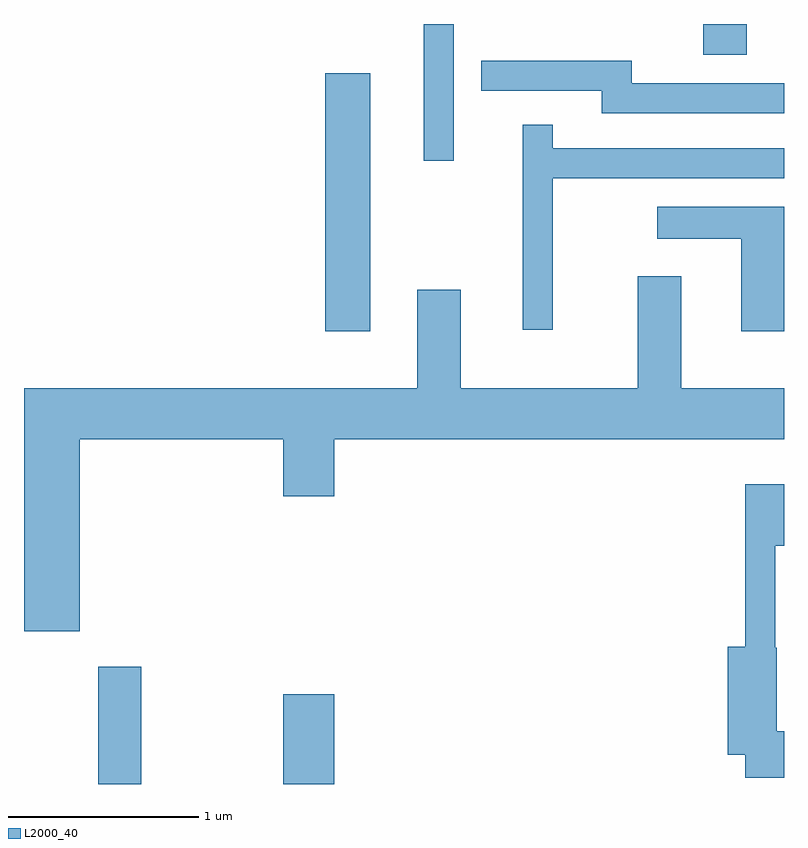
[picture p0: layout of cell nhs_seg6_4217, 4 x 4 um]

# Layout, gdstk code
import gdstk
lib = gdstk.Library(unit=1e-6, precision=1e-09)
def R(c, l, rs):  # rectangles x0, y0, x1, y1
    for r in rs: c.add(gdstk.rectangle(r[:2], r[2:], *l))
def P(c, l, *ps):  # polygons
    for p in ps: c.add(gdstk.Polygon(p, *l))
L2000_40 = (2000, 40)

nhs_seg6_4217 = lib.new_cell('nhs_seg6_4217')
R(nhs_seg6_4217, L2000_40, [(314.001,1608.162,314.229,1608.779), (314.976,1608.162,315.244,1608.634), (315.196,1610.546,315.434,1611.904), (315.716,1611.443,315.874,1612.162), (317.186,1612.001,317.414,1612.162)])
P(nhs_seg6_4217, L2000_40, [(317.611,1611.849),(316.809,1611.849),(316.809,1611.969),(316.018,1611.969),(316.018,1611.811),(316.651,1611.811),(316.651,1611.691),(317.611,1611.691)],
  [(316.394,1611.351),(317.611,1611.351),(317.611,1611.509),(316.394,1611.509),(316.394,1611.633),(316.236,1611.633),(316.236,1610.553),(316.394,1610.553)],
  [(317.611,1611.199),(316.943,1611.199),(316.943,1611.031),(317.386,1611.031),(317.386,1610.546),(317.611,1610.546)],
  [(313.904,1609.976),(314.976,1609.976),(314.976,1609.676),(315.244,1609.676),(315.244,1609.976),(317.611,1609.976),(317.611,1610.244),(317.069,1610.244),(317.069,1610.834),(316.841,1610.834),(316.841,1610.244),(315.909,1610.244),(315.909,1610.764),(315.681,1610.764),(315.681,1610.244),(313.611,1610.244),(313.611,1608.966),(313.904,1608.966)],
  [(317.611,1608.439),(317.574,1608.439),(317.574,1608.88),(317.564,1608.88),(317.564,1609.416),(317.611,1609.416),(317.611,1609.739),(317.406,1609.739),(317.406,1608.884),(317.316,1608.884),(317.316,1608.316),(317.406,1608.316),(317.406,1608.196),(317.611,1608.196)])

lib.write_gds('nhs_seg6_4217.gds')
